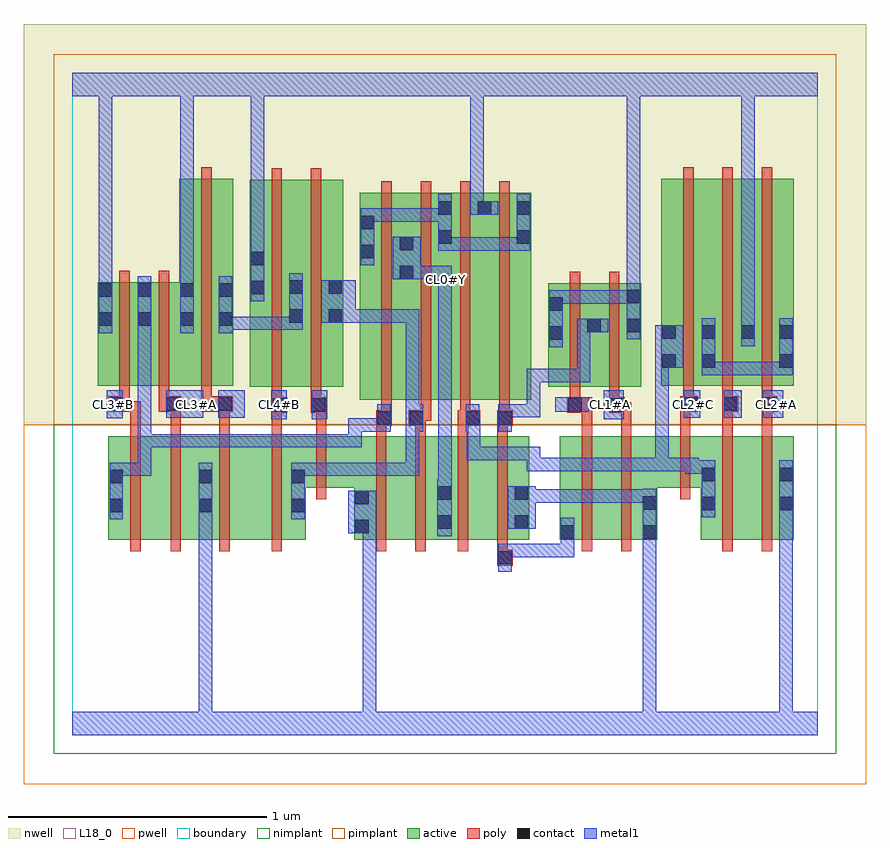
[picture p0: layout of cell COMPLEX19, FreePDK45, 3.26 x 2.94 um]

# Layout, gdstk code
import gdstk
lib = gdstk.Library(unit=1e-6, precision=1e-09)
def R(c, l, rs):  # rectangles x0, y0, x1, y1
    for r in rs: c.add(gdstk.rectangle(r[:2], r[2:], *l))
def A(c, l, x, y, w, h, nx, ny, dx, dy):  # array of equal rectangles
    R(c, l, [(x+i*dx, y+j*dy, x+i*dx+w, y+j*dy+h) for i in range(nx) for j in range(ny)])
active = (1, 0)
pwell = (2, 0)
nwell = (3, 0)
nimplant = (4, 0)
pimplant = (5, 0)
poly = (9, 0)
contact = (10, 0)
metal1 = (11, 0)
L18_0 = (18, 0)
boundary = (235, 0)

complex19 = lib.new_cell('COMPLEX19')
R(complex19, active, [(0.14,0.756,0.2,1.156), (0.14,0.756,0.32,1.156), (0.32,0.756,0.544,1.156), (0.484,0.756,0.664,1.156), (0.484,0.756,0.544,1.03), (0.664,0.756,0.902,1.156), (0.842,0.756,0.902,1.03), (1.09,0.756,1.27,1.156), (1.27,0.756,1.466,1.156), (1.406,0.756,1.586,1.156), (1.406,0.756,1.466,0.966), (1.586,0.756,1.766,1.156), (1.706,0.756,1.766,1.156), (1.884,0.756,1.944,1.156), (1.884,0.756,2.064,1.156), (2.064,0.756,2.26,1.156), (2.2,0.756,2.26,1.156), (2.428,0.756,2.608,1.156), (2.608,0.756,2.788,1.156), (2.728,0.756,2.788,1.156), (1.09,0.776,1.15,1.156), (2.428,0.866,2.488,1.038), (0.842,0.956,1.15,1.156), (2.2,0.956,2.488,1.156), (1.11,1.296,1.17,2.096), (1.11,1.296,1.322,2.096), (1.262,1.296,1.47,2.096), (1.262,1.296,1.322,2.044), (1.41,1.296,1.47,2.096), (1.41,1.296,1.622,2.096), (1.562,1.296,1.774,2.096), (1.562,1.296,1.622,2.068), (1.714,1.296,1.774,2.096), (0.686,1.346,0.746,2.146), (0.686,1.346,0.894,2.146), (0.834,1.346,1.046,2.146), (0.834,1.346,0.894,2.044), (0.986,1.346,1.046,2.044), (1.838,1.346,1.898,1.746), (1.838,1.346,2.046,1.746), (1.986,1.346,2.198,1.746), (2.138,1.346,2.198,1.746), (0.098,1.35,0.158,1.75), (0.098,1.35,0.31,1.75), (0.25,1.35,0.31,1.75), (0.25,1.35,0.474,1.75), (0.414,1.35,0.474,2.15), (0.414,1.35,0.622,2.15), (0.562,1.35,0.622,2.044), (2.276,1.35,2.336,2.15), (2.276,1.35,2.488,2.15), (2.428,1.35,2.64,2.15), (2.428,1.35,2.488,2.044), (2.58,1.35,2.64,2.15), (2.58,1.35,2.788,2.15), (2.728,1.35,2.788,2.15), (1.986,1.554,2.046,1.644)])
R(complex19, pwell, [(-0.188,-0.188,3.068,1.2)])
R(complex19, nwell, [(-0.188,1.2,3.068,2.748)])
R(complex19, nimplant, [(-0.072,-0.072,2.952,1.2)])
R(complex19, pimplant, [(-0.072,1.2,2.952,2.632)])
A(complex19, poly, 1.194, 1.216, 0.04, 0.076, 4, 1, 0.152, 0)
A(complex19, poly, 1.194, 1.252, 0.04, 0.888, 4, 1, 0.152, 0)
A(complex19, poly, 2.36, 1.27, 0.04, 0.076, 3, 1, 0.152, 0)
A(complex19, poly, 2.36, 1.306, 0.04, 0.888, 3, 1, 0.152, 0)
R(complex19, poly, [(1.642,0.656,1.702,0.716), (1.642,0.676,1.682,0.752), (0.224,0.712,0.264,1.2), (0.38,0.712,0.42,1.2), (0.568,0.712,0.608,1.2), (0.77,0.712,0.81,1.2), (1.174,0.712,1.214,1.2), (1.326,0.712,1.366,1.2), (1.49,0.712,1.53,1.2), (1.642,0.712,1.682,1.2), (1.968,0.712,2.008,1.2), (2.12,0.712,2.16,1.2), (2.512,0.712,2.552,1.2), (2.664,0.712,2.704,1.2), (0.942,0.912,0.982,1.2), (2.348,0.912,2.388,1.2), (0.224,1.16,0.264,1.29), (0.38,1.16,0.42,1.29), (0.568,1.16,0.608,1.29), (0.77,1.16,0.81,1.286), (0.942,1.16,0.982,1.286), (1.174,1.16,1.214,1.236), (1.326,1.16,1.366,1.236), (1.49,1.16,1.53,1.236), (1.642,1.16,1.682,1.236), (1.968,1.16,2.008,1.286), (2.12,1.16,2.16,1.286), (2.348,1.16,2.388,1.29), (2.512,1.16,2.552,1.29), (2.664,1.16,2.704,1.29), (1.174,1.196,1.234,1.256), (1.3,1.196,1.366,1.256), (1.49,1.196,1.576,1.256), (1.642,1.196,1.682,1.236), (1.642,1.196,1.682,1.236), (1.642,1.196,1.702,1.256), (1.194,1.216,1.234,1.256), (1.194,1.216,1.234,1.256), (1.326,1.216,1.366,1.256), (1.326,1.216,1.386,1.256), (1.498,1.216,1.538,1.256), (1.498,1.216,1.538,1.256), (0.77,1.246,0.81,1.286), (0.77,1.246,0.81,1.286), (0.77,1.246,0.83,1.306), (0.922,1.246,0.982,1.306), (0.942,1.246,0.982,1.286), (0.942,1.246,0.982,1.286), (1.912,1.246,2.008,1.306), (2.074,1.246,2.134,1.306), (2.094,1.246,2.134,1.286), (2.094,1.246,2.16,1.286), (0.14,1.25,0.222,1.31), (0.182,1.25,0.222,1.29), (0.182,1.25,0.264,1.29), (0.334,1.25,0.42,1.31), (0.38,1.25,0.42,1.29), (0.38,1.25,0.42,1.29), (0.498,1.25,0.62,1.31), (0.568,1.25,0.608,1.29), (0.568,1.25,0.608,1.29), (2.348,1.25,2.418,1.31), (2.512,1.25,2.552,1.29), (2.512,1.25,2.552,1.29), (2.512,1.25,2.572,1.31), (2.664,1.25,2.704,1.29), (2.664,1.25,2.704,1.29), (2.664,1.25,2.724,1.31), (0.77,1.266,0.81,1.342), (0.922,1.266,0.962,1.342), (1.922,1.266,1.962,1.342), (1.922,1.266,1.962,1.306), (1.922,1.266,1.962,1.306), (2.074,1.266,2.114,1.342), (0.182,1.27,0.222,1.346), (0.334,1.27,0.374,1.346), (0.498,1.27,0.538,1.346), (2.36,1.27,2.4,1.31), (2.36,1.27,2.4,1.31), (0.77,1.302,0.81,2.19), (0.922,1.302,0.962,2.19), (1.922,1.302,1.962,1.79), (2.074,1.302,2.114,1.79), (0.182,1.306,0.222,1.794), (0.334,1.306,0.374,1.794), (0.498,1.306,0.538,2.194)])
A(complex19, contact, 2.28, 1.532, 0.052, 0.052, 3, 1, 0.152, 0)
A(complex19, contact, 1.414, 2.012, 0.052, 0.052, 3, 1, 0.152, 0)
R(complex19, contact, [(1.646,0.66,1.698,0.712), (1.888,0.76,1.94,0.812), (2.204,0.76,2.256,0.812), (1.094,0.78,1.146,0.832), (1.41,0.798,1.462,0.85), (1.71,0.798,1.762,0.85), (0.144,0.862,0.196,0.914), (0.488,0.862,0.54,0.914), (0.846,0.862,0.898,0.914), (2.432,0.87,2.484,0.922), (2.732,0.87,2.784,0.922), (2.204,0.872,2.256,0.924), (1.094,0.892,1.146,0.944), (1.41,0.91,1.462,0.962), (1.71,0.91,1.762,0.962), (0.144,0.974,0.196,1.026), (0.488,0.974,0.54,1.026), (0.846,0.974,0.898,1.026), (2.432,0.982,2.484,1.034), (2.732,0.982,2.784,1.034), (1.178,1.2,1.23,1.252), (1.304,1.2,1.356,1.252), (1.52,1.2,1.572,1.252), (1.646,1.2,1.698,1.252), (0.774,1.25,0.826,1.302), (0.926,1.25,0.978,1.302), (1.916,1.25,1.968,1.302), (2.078,1.25,2.13,1.302), (0.144,1.254,0.196,1.306), (0.364,1.254,0.416,1.306), (0.564,1.254,0.616,1.306), (2.362,1.254,2.414,1.306), (2.516,1.254,2.568,1.306), (2.668,1.254,2.72,1.306), (2.28,1.42,2.332,1.472), (2.432,1.42,2.484,1.472), (2.732,1.42,2.784,1.472), (1.842,1.528,1.894,1.58), (2.732,1.532,2.784,1.584), (1.99,1.558,2.042,1.61), (2.142,1.558,2.194,1.61), (0.102,1.582,0.154,1.634), (0.254,1.582,0.306,1.634), (0.418,1.582,0.47,1.634), (0.566,1.582,0.618,1.634), (0.838,1.594,0.89,1.646), (0.99,1.594,1.042,1.646), (1.842,1.64,1.894,1.692), (2.142,1.67,2.194,1.722), (0.102,1.694,0.154,1.746), (0.254,1.694,0.306,1.746), (0.418,1.694,0.47,1.746), (0.566,1.694,0.618,1.746), (0.69,1.704,0.742,1.756), (0.838,1.706,0.89,1.758), (0.99,1.706,1.042,1.758), (1.266,1.762,1.318,1.814), (0.69,1.816,0.742,1.868), (1.114,1.844,1.166,1.896), (1.266,1.874,1.318,1.926), (1.414,1.9,1.466,1.952), (1.718,1.9,1.77,1.952), (1.114,1.956,1.166,2.008)])
A(complex19, metal1, 0.626, 1.112, 0.052, 0.052, 3, 1, 0.11, 0)
R(complex19, metal1, [(0,0,2.88,0.092), (0.488,0.04,0.54,0.092), (0.488,0.04,0.54,0.092), (0.488,0.04,0.54,0.092), (0.488,0.04,0.54,0.092), (0.488,0.04,0.54,0.092), (0.488,0.04,0.54,0.092), (0.488,0.04,0.54,0.092), (0.488,0.04,0.54,0.092), (0.488,0.04,0.54,0.886), (1.122,0.04,1.174,0.092), (1.122,0.04,1.174,0.092), (1.122,0.04,1.174,0.092), (1.122,0.04,1.174,0.092), (1.122,0.04,1.174,0.092), (1.122,0.04,1.174,0.092), (1.122,0.04,1.174,0.092), (1.122,0.04,1.174,0.092), (1.122,0.04,1.174,0.832), (2.204,0.04,2.256,0.784), (2.732,0.04,2.784,0.092), (2.732,0.04,2.784,0.092), (2.732,0.04,2.784,0.092), (2.732,0.04,2.784,0.092), (2.732,0.04,2.784,0.092), (2.732,0.04,2.784,0.092), (2.732,0.04,2.784,0.092), (2.732,0.04,2.784,0.092), (2.732,0.04,2.784,0.092), (2.732,0.04,2.784,0.092), (2.732,0.04,2.784,0.092), (2.732,0.04,2.784,0.092), (2.732,0.04,2.784,0.894), (1.646,0.632,1.698,0.74), (1.646,0.688,1.698,0.74), (1.646,0.688,1.698,0.74), (1.646,0.688,1.94,0.74), (1.888,0.688,1.94,0.74), (1.888,0.688,1.94,0.784), (1.888,0.732,1.94,0.84), (2.204,0.732,2.256,0.784), (2.204,0.732,2.256,0.784), (2.204,0.732,2.256,0.784), (2.204,0.732,2.256,0.784), (2.204,0.732,2.256,0.784), (2.204,0.732,2.256,0.784), (2.204,0.732,2.256,0.784), (2.204,0.732,2.256,0.784), (2.204,0.732,2.256,0.784), (2.204,0.732,2.256,0.784), (2.204,0.732,2.256,0.784), (2.204,0.732,2.256,0.784), (2.204,0.732,2.256,0.952), (1.41,0.77,1.466,0.99), (1.066,0.78,1.174,0.944), (1.122,0.78,1.174,0.832), (1.122,0.78,1.174,0.832), (1.122,0.78,1.174,0.832), (1.122,0.78,1.174,0.832), (1.682,0.798,1.79,0.962), (0.144,0.834,0.196,1.054), (0.488,0.834,0.54,0.886), (0.488,0.834,0.54,0.886), (0.488,0.834,0.54,0.886), (0.488,0.834,0.54,0.886), (0.488,0.834,0.54,1.054), (0.846,0.834,0.898,1.054), (2.432,0.842,2.484,1.062), (2.732,0.842,2.784,1.062), (1.738,0.898,1.808,0.95), (1.756,0.898,1.808,0.95), (1.756,0.898,1.954,0.95), (1.902,0.898,1.954,0.95), (1.902,0.898,2.064,0.95), (2.012,0.898,2.064,0.95), (2.012,0.898,2.064,0.95), (2.012,0.898,2.064,0.95), (2.012,0.898,2.064,0.95), (2.012,0.898,2.064,0.95), (2.012,0.898,2.256,0.95), (1.414,0.938,1.466,1.758), (0.144,1.002,0.196,1.054), (0.144,1.002,0.196,1.054), (0.144,1.002,0.306,1.054), (0.254,1.002,0.306,1.054), (0.254,1.002,0.306,1.164), (0.846,1.002,0.898,1.054), (0.846,1.002,0.898,1.054), (0.846,1.002,1.008,1.054), (0.956,1.002,1.008,1.054), (0.956,1.002,1.18,1.054), (1.128,1.002,1.18,1.054), (1.128,1.002,1.228,1.054), (1.176,1.002,1.228,1.054), (1.176,1.002,1.34,1.054), (1.288,1.002,1.34,1.054), (1.288,1.002,1.34,1.224), (2.368,1.01,2.484,1.062), (2.368,1.01,2.42,1.072), (1.756,1.02,1.808,1.072), (1.756,1.02,1.954,1.072), (1.756,1.02,1.808,1.114), (1.902,1.02,1.954,1.072), (1.902,1.02,2.064,1.072), (2.012,1.02,2.064,1.072), (2.012,1.02,2.064,1.072), (2.012,1.02,2.064,1.072), (2.012,1.02,2.304,1.072), (2.252,1.02,2.304,1.072), (2.252,1.02,2.304,1.072), (2.252,1.02,2.304,1.072), (2.252,1.02,2.42,1.072), (2.252,1.02,2.304,1.472), (1.524,1.062,1.686,1.114), (1.524,1.062,1.576,1.224), (1.634,1.062,1.686,1.114), (1.634,1.062,1.808,1.114), (1.756,1.062,1.808,1.114), (1.756,1.062,1.808,1.114), (1.756,1.062,1.808,1.114), (0.254,1.112,0.306,1.164), (0.254,1.112,0.306,1.164), (0.254,1.112,0.306,1.164), (0.254,1.112,0.306,1.164), (0.254,1.112,0.306,1.164), (0.254,1.112,0.508,1.164), (0.254,1.112,0.306,1.606), (0.456,1.112,0.508,1.164), (0.456,1.112,0.508,1.164), (0.456,1.112,0.508,1.164), (0.456,1.112,0.678,1.164), (0.626,1.112,0.678,1.164), (0.626,1.112,0.678,1.164), (0.626,1.112,0.788,1.164), (0.736,1.112,0.898,1.164), (0.846,1.112,0.898,1.164), (0.846,1.112,0.898,1.164), (0.846,1.112,1.118,1.164), (1.066,1.112,1.118,1.164), (1.066,1.112,1.118,1.164), (1.066,1.112,1.118,1.224), (1.066,1.172,1.23,1.224), (1.178,1.172,1.23,1.28), (1.288,1.172,1.34,1.224), (1.288,1.172,1.356,1.224), (1.288,1.172,1.34,1.646), (1.304,1.172,1.356,1.28), (1.52,1.172,1.572,1.28), (1.52,1.172,1.576,1.224), (1.646,1.172,1.698,1.28), (0.768,1.222,0.828,1.334), (0.926,1.222,0.986,1.334), (2.054,1.222,2.13,1.334), (0.134,1.224,0.196,1.334), (0.364,1.226,0.506,1.334), (0.564,1.226,0.666,1.334), (2.362,1.226,2.426,1.334), (2.516,1.226,2.586,1.334), (2.668,1.226,2.746,1.334), (1.646,1.228,1.808,1.28), (1.756,1.228,1.808,1.416), (1.866,1.25,1.996,1.306), (1.756,1.364,1.808,1.416), (1.756,1.364,1.808,1.416), (1.756,1.364,1.954,1.416), (1.902,1.364,1.954,1.416), (1.902,1.364,2.002,1.416), (1.95,1.364,2.002,1.416), (1.95,1.364,2.002,1.61), (2.432,1.392,2.484,1.612), (2.432,1.392,2.594,1.444), (2.542,1.392,2.594,1.444), (2.542,1.392,2.594,1.444), (2.542,1.392,2.594,1.444), (2.542,1.392,2.784,1.444), (2.732,1.392,2.784,1.444), (2.732,1.392,2.784,1.444), (2.732,1.392,2.784,1.612), (2.252,1.42,2.304,1.472), (2.252,1.42,2.304,1.472), (2.252,1.42,2.304,1.472), (2.252,1.42,2.304,1.472), (2.252,1.42,2.36,1.584), (1.842,1.5,1.894,1.72), (2.584,1.504,2.636,1.612), (2.142,1.53,2.194,1.75), (0.102,1.554,0.154,1.774), (0.254,1.554,0.306,1.774), (0.418,1.554,0.47,1.774), (0.566,1.554,0.618,1.774), (1.95,1.558,2.07,1.61), (2.584,1.56,2.636,1.612), (2.584,1.56,2.636,1.612), (2.584,1.56,2.636,1.612), (2.584,1.56,2.636,1.612), (2.584,1.56,2.636,2.52), (0.566,1.566,0.618,1.618), (0.566,1.566,0.618,1.618), (0.566,1.566,0.788,1.618), (0.736,1.566,0.788,1.618), (0.736,1.566,0.89,1.618), (0.838,1.566,0.89,1.786), (0.962,1.594,1.096,1.758), (1.044,1.594,1.096,1.646), (1.044,1.594,1.096,1.646), (1.044,1.594,1.096,1.646), (1.044,1.594,1.096,1.646), (1.044,1.594,1.228,1.646), (1.176,1.594,1.228,1.646), (1.176,1.594,1.34,1.646), (1.288,1.594,1.34,1.646), (1.842,1.668,1.954,1.72), (1.902,1.668,1.954,1.72), (1.902,1.668,2.064,1.72), (2.012,1.668,2.064,1.72), (2.012,1.668,2.064,1.72), (2.012,1.668,2.064,1.72), (2.012,1.668,2.194,1.72), (0.69,1.676,0.742,1.896), (2.142,1.698,2.194,1.75), (2.142,1.698,2.194,1.75), (2.142,1.698,2.194,1.75), (2.142,1.698,2.194,1.75), (2.142,1.698,2.194,1.75), (2.142,1.698,2.194,1.75), (2.142,1.698,2.194,1.75), (2.142,1.698,2.194,1.75), (2.142,1.698,2.194,1.75), (2.142,1.698,2.194,1.75), (2.142,1.698,2.194,1.75), (2.142,1.698,2.194,1.75), (2.142,1.698,2.194,1.75), (2.142,1.698,2.194,1.75), (2.142,1.698,2.194,1.75), (2.142,1.698,2.194,1.75), (2.142,1.698,2.194,2.52), (1.414,1.706,1.466,1.814), (0.102,1.722,0.154,1.774), (0.102,1.722,0.154,1.774), (0.102,1.722,0.154,2.52), (0.418,1.722,0.47,1.774), (0.418,1.722,0.47,1.774), (0.418,1.722,0.47,1.774), (0.418,1.722,0.47,1.774), (0.418,1.722,0.47,2.52), (1.238,1.762,1.346,1.926), (1.294,1.762,1.346,1.814), (1.294,1.762,1.346,1.814), (1.294,1.762,1.466,1.814), (1.414,1.762,1.466,1.814), (1.414,1.762,1.466,1.814), (1.414,1.762,1.466,1.814), (1.414,1.762,1.466,1.814), (1.114,1.816,1.166,2.036), (0.69,1.844,0.742,1.896), (0.69,1.844,0.742,1.896), (0.69,1.844,0.742,1.896), (0.69,1.844,0.742,1.896), (0.69,1.844,0.742,1.896), (0.69,1.844,0.742,1.896), (0.69,1.844,0.742,1.896), (0.69,1.844,0.742,1.896), (0.69,1.844,0.742,2.52), (1.414,1.872,1.466,1.924), (1.414,1.872,1.466,1.924), (1.414,1.872,1.466,2.092), (1.414,1.872,1.576,1.924), (1.524,1.872,1.576,1.924), (1.524,1.872,1.576,1.924), (1.524,1.872,1.576,1.924), (1.524,1.872,1.698,1.924), (1.646,1.872,1.698,1.924), (1.646,1.872,1.77,1.924), (1.718,1.872,1.77,2.092), (1.114,1.984,1.228,2.036), (1.176,1.984,1.228,2.036), (1.176,1.984,1.34,2.036), (1.288,1.984,1.34,2.036), (1.288,1.984,1.34,2.036), (1.288,1.984,1.34,2.036), (1.288,1.984,1.466,2.036), (1.538,2.012,1.59,2.064), (1.538,2.012,1.59,2.064), (1.538,2.012,1.59,2.064), (1.538,2.012,1.59,2.064), (1.538,2.012,1.59,2.52), (1.538,2.012,1.646,2.064), (0,2.468,2.88,2.56), (0.102,2.468,0.154,2.52), (0.102,2.468,0.154,2.52), (0.102,2.468,0.154,2.52), (0.102,2.468,0.154,2.52), (0.102,2.468,0.154,2.52), (0.102,2.468,0.154,2.52), (0.102,2.468,0.154,2.52), (0.102,2.468,0.154,2.52), (0.102,2.468,0.154,2.52), (0.102,2.468,0.154,2.52), (0.102,2.468,0.154,2.52), (0.102,2.468,0.154,2.52), (0.102,2.468,0.154,2.52), (0.102,2.468,0.154,2.52), (0.418,2.468,0.47,2.52), (0.418,2.468,0.47,2.52), (0.418,2.468,0.47,2.52), (0.418,2.468,0.47,2.52), (1.538,2.468,1.59,2.52), (1.538,2.468,1.59,2.52), (1.538,2.468,1.59,2.52), (1.538,2.468,1.59,2.52), (2.584,2.468,2.636,2.52), (2.584,2.468,2.636,2.52), (2.584,2.468,2.636,2.52), (2.584,2.468,2.636,2.52)])
A(complex19, L18_0, 0.454, 1.254, 0.052, 0.052, 4, 1, 0.16, 0)
A(complex19, L18_0, 2.374, 1.254, 0.052, 0.052, 3, 1, 0.16, 0)
R(complex19, L18_0, [(0,0,2.88,0.092), (0.488,0.04,0.54,0.092), (0.488,0.04,0.54,0.092), (0.488,0.04,0.54,0.092), (0.488,0.04,0.54,0.092), (0.488,0.04,0.54,0.092), (0.488,0.04,0.54,0.092), (0.488,0.04,0.54,0.092), (0.488,0.04,0.54,0.092), (0.488,0.04,0.54,0.886), (1.122,0.04,1.174,0.092), (1.122,0.04,1.174,0.092), (1.122,0.04,1.174,0.092), (1.122,0.04,1.174,0.092), (1.122,0.04,1.174,0.092), (1.122,0.04,1.174,0.092), (1.122,0.04,1.174,0.092), (1.122,0.04,1.174,0.092), (1.122,0.04,1.174,0.832), (2.204,0.04,2.256,0.784), (2.732,0.04,2.784,0.092), (2.732,0.04,2.784,0.092), (2.732,0.04,2.784,0.092), (2.732,0.04,2.784,0.092), (2.732,0.04,2.784,0.092), (2.732,0.04,2.784,0.092), (2.732,0.04,2.784,0.092), (2.732,0.04,2.784,0.092), (2.732,0.04,2.784,0.092), (2.732,0.04,2.784,0.092), (2.732,0.04,2.784,0.092), (2.732,0.04,2.784,0.092), (2.732,0.04,2.784,0.894), (2.204,0.732,2.256,0.952), (2.204,0.732,2.256,0.784), (2.204,0.732,2.256,0.784), (2.204,0.732,2.256,0.784), (2.204,0.732,2.256,0.784), (2.204,0.732,2.256,0.784), (2.204,0.732,2.256,0.784), (2.204,0.732,2.256,0.784), (2.204,0.732,2.256,0.784), (2.204,0.732,2.256,0.784), (2.204,0.732,2.256,0.784), (2.204,0.732,2.256,0.784), (2.204,0.732,2.256,0.784), (1.41,0.77,1.466,0.99), (1.066,0.78,1.174,0.944), (1.122,0.78,1.174,0.832), (1.122,0.78,1.174,0.832), (1.122,0.78,1.174,0.832), (1.122,0.78,1.174,0.832), (1.682,0.798,1.79,0.962), (0.488,0.834,0.54,1.054), (0.488,0.834,0.54,0.886), (0.488,0.834,0.54,0.886), (0.488,0.834,0.54,0.886), (0.488,0.834,0.54,0.886), (2.732,0.842,2.784,1.062), (1.738,0.898,1.808,0.95), (1.756,0.898,1.808,0.95), (1.756,0.898,1.954,0.95), (1.902,0.898,1.954,0.95), (1.902,0.898,2.064,0.95), (2.012,0.898,2.064,0.95), (2.012,0.898,2.064,0.95), (2.012,0.898,2.064,0.95), (2.012,0.898,2.064,0.95), (2.012,0.898,2.064,0.95), (2.012,0.898,2.256,0.95), (1.414,0.938,1.466,1.758), (0.768,1.222,0.828,1.334), (0.926,1.222,0.986,1.334), (2.054,1.222,2.13,1.334), (0.134,1.224,0.196,1.334), (0.364,1.226,0.506,1.334), (0.564,1.226,0.666,1.334), (2.362,1.226,2.426,1.334), (2.516,1.226,2.586,1.334), (2.668,1.226,2.746,1.334), (1.866,1.25,1.996,1.306), (0.134,1.254,0.186,1.306), (1.894,1.254,1.946,1.306), (2.054,1.254,2.106,1.306), (1.842,1.5,1.894,1.72), (2.584,1.504,2.636,1.612), (2.142,1.53,2.194,1.75), (0.102,1.554,0.154,1.774), (0.418,1.554,0.47,1.774), (2.584,1.56,2.636,1.612), (2.584,1.56,2.636,1.612), (2.584,1.56,2.636,1.612), (2.584,1.56,2.636,1.612), (2.584,1.56,2.636,2.52), (1.842,1.668,1.954,1.72), (1.902,1.668,1.954,1.72), (1.902,1.668,2.064,1.72), (2.012,1.668,2.064,1.72), (2.012,1.668,2.064,1.72), (2.012,1.668,2.064,1.72), (2.012,1.668,2.194,1.72), (0.69,1.676,0.742,1.896), (2.142,1.698,2.194,1.75), (2.142,1.698,2.194,1.75), (2.142,1.698,2.194,1.75), (2.142,1.698,2.194,1.75), (2.142,1.698,2.194,1.75), (2.142,1.698,2.194,1.75), (2.142,1.698,2.194,1.75), (2.142,1.698,2.194,1.75), (2.142,1.698,2.194,1.75), (2.142,1.698,2.194,1.75), (2.142,1.698,2.194,1.75), (2.142,1.698,2.194,1.75), (2.142,1.698,2.194,1.75), (2.142,1.698,2.194,1.75), (2.142,1.698,2.194,1.75), (2.142,1.698,2.194,1.75), (2.142,1.698,2.194,2.52), (1.414,1.706,1.466,1.814), (0.102,1.722,0.154,1.774), (0.102,1.722,0.154,1.774), (0.102,1.722,0.154,2.52), (0.418,1.722,0.47,1.774), (0.418,1.722,0.47,1.774), (0.418,1.722,0.47,1.774), (0.418,1.722,0.47,1.774), (0.418,1.722,0.47,2.52), (1.414,1.734,1.466,1.786), (1.238,1.762,1.346,1.926), (1.294,1.762,1.346,1.814), (1.294,1.762,1.346,1.814), (1.294,1.762,1.466,1.814), (1.414,1.762,1.466,1.814), (1.414,1.762,1.466,1.814), (1.414,1.762,1.466,1.814), (1.414,1.762,1.466,1.814), (0.69,1.844,0.742,1.896), (0.69,1.844,0.742,1.896), (0.69,1.844,0.742,1.896), (0.69,1.844,0.742,1.896), (0.69,1.844,0.742,1.896), (0.69,1.844,0.742,1.896), (0.69,1.844,0.742,1.896), (0.69,1.844,0.742,1.896), (0.69,1.844,0.742,2.52), (1.538,2.012,1.59,2.064), (1.538,2.012,1.59,2.064), (1.538,2.012,1.59,2.064), (1.538,2.012,1.59,2.064), (1.538,2.012,1.646,2.064), (1.538,2.012,1.59,2.52), (0,2.468,2.88,2.56), (0.102,2.468,0.154,2.52), (0.102,2.468,0.154,2.52), (0.102,2.468,0.154,2.52), (0.102,2.468,0.154,2.52), (0.102,2.468,0.154,2.52), (0.102,2.468,0.154,2.52), (0.102,2.468,0.154,2.52), (0.102,2.468,0.154,2.52), (0.102,2.468,0.154,2.52), (0.102,2.468,0.154,2.52), (0.102,2.468,0.154,2.52), (0.102,2.468,0.154,2.52), (0.102,2.468,0.154,2.52), (0.102,2.468,0.154,2.52), (0.418,2.468,0.47,2.52), (0.418,2.468,0.47,2.52), (0.418,2.468,0.47,2.52), (0.418,2.468,0.47,2.52), (1.538,2.468,1.59,2.52), (1.538,2.468,1.59,2.52), (1.538,2.468,1.59,2.52), (1.538,2.468,1.59,2.52), (2.584,2.468,2.636,2.52), (2.584,2.468,2.636,2.52), (2.584,2.468,2.636,2.52), (2.584,2.468,2.636,2.52)])
R(complex19, boundary, [(0,0,2.88,2.56)])
complex19.add(gdstk.Label('CL0#Y', (1.44,1.76), layer=11, texttype=0))
complex19.add(gdstk.Label('CL1#A', (2.08,1.28), layer=11, texttype=0))
complex19.add(gdstk.Label('CL1#B', (1.92,1.28), layer=11, texttype=0))
complex19.add(gdstk.Label('CL2#A', (2.72,1.28), layer=11, texttype=0))
complex19.add(gdstk.Label('CL2#B', (2.56,1.28), layer=11, texttype=0))
complex19.add(gdstk.Label('CL2#C', (2.4,1.28), layer=11, texttype=0))
complex19.add(gdstk.Label('CL3#A', (0.48,1.28), layer=11, texttype=0))
complex19.add(gdstk.Label('CL3#B', (0.16,1.28), layer=11, texttype=0))
complex19.add(gdstk.Label('CL4#A', (0.64,1.28), layer=11, texttype=0))
complex19.add(gdstk.Label('CL4#B', (0.8,1.28), layer=11, texttype=0))
complex19.add(gdstk.Label('CL4#C', (0.96,1.28), layer=11, texttype=0))

lib.write_gds('COMPLEX19.gds')
